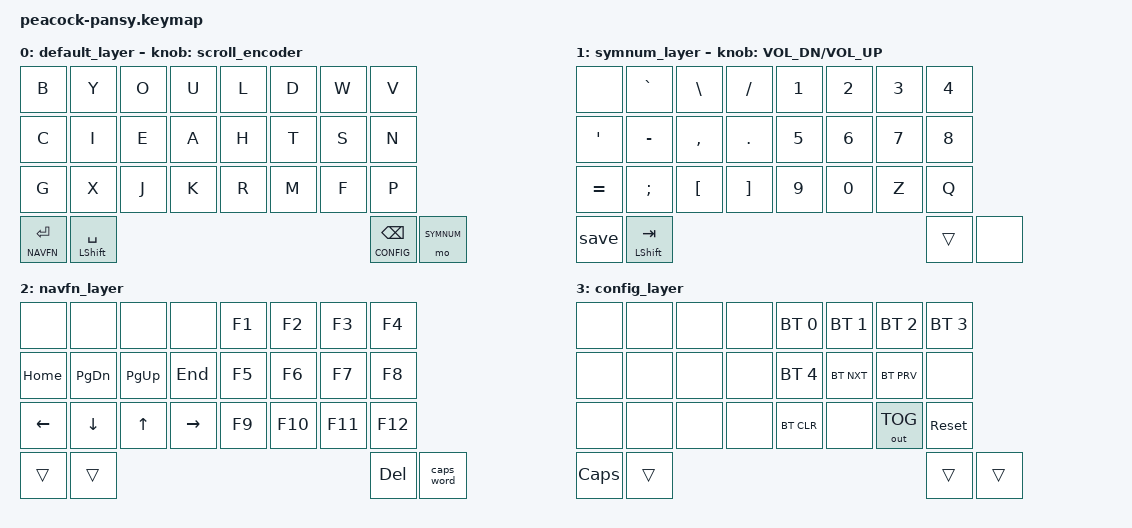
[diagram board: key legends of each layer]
#include <behaviors.dtsi>
#include <dt-bindings/zmk/keys.h>
#include <dt-bindings/zmk/bt.h>
#include <dt-bindings/zmk/outputs.h>
#include <dt-bindings/zmk/mouse.h>
#include <dt-bindings/zmk/pointing.h>

#define DEFAULT 0
#define SYMNUM 1
#define NAVFN 2
#define CONFIG 3

&msc { trigger-period-ms = <10> ; }
; /
{ behaviors
  { scroll_encoder: scroll_encoder
    { compatible = "zmk,behavior-sensor-rotate"
      ; #sensor-binding-cells = <0>
      // high MOVE_Y and low tap-ms make for happy scrolling
      ; bindings = <&msc MOVE_Y(120)>, <&msc MOVE_Y(-120)>
      ; tap-ms = <12>
    ; }
    ; bksp: layer_backspace
    { compatible = "zmk,behavior-hold-tap"
      ; #binding-cells = <2>
      ; flavor = "tap-preferred"
      ; tapping-term-ms = <200>
      ; bindings = <&mo>, <&kp>
      ; display-name = "Layer-Backspace"
      ; quick-tap-ms = <150>
    ; }
  ; }
  ; macros
  { ZMK_MACRO(save
    , wait-ms = <30>
    ; tap-ms = <40>
    ; bindings =  <&macro_tap &kp ESC &kp COLON &kp W &kp RET>
    ; )
  }
  ; combos
  { compatible = "zmk,combos"
    // upper rows
  ; combo_lgui  { key-positions = < 0  8>; bindings = <&kp LGUI >; }
  ; combo_lalt  { key-positions = < 1  9>; bindings = <&kp LALT >; }
  ; combo_lshft { key-positions = < 2 10>; bindings = <&kp LSHFT>; }
  ; combo_lctrl { key-positions = < 3 11>; bindings = <&kp LCTRL>; }
  ; combo_rctrl { key-positions = < 4 12>; bindings = <&kp RCTRL>; }
  ; combo_rshft { key-positions = < 5 13>; bindings = <&kp RSHFT>; }
  ; combo_ralt  { key-positions = < 6 14>; bindings = <&kp RALT >; }
  ; combo_rgui  { key-positions = < 7 15>; bindings = <&kp RGUI >; }
    // lower rows
  ; combo_tab   { key-positions = <10 18>; bindings = <&kp TAB  >; }
  ; combo_esc   { key-positions = <12 20>; bindings = <&kp ESC  >; }
  ; combo_save  { key-positions = <13 21>; bindings = <&save    >; }
    // thumbs
  ; combo_mclk  { key-positions = <24 25>; bindings = <&mkp MCLK>; }
  ; }
  ; keymap
  { compatible = "zmk,keymap"
    // | B | Y | O    | U        || L         | D         | W | V |
    // | C | I | E    | A        || H         | T         | S | N |
    // | G | X | J    | K        || R         | M         | F | P |
    //         | RET  | NAV(SPC) || SYM(BSPC) | CONF(ESC) |
    ; default_layer
    { bindings = <
      &kp B &kp Y &kp O &kp U  &kp L   &kp D &kp W &kp V
      &kp C &kp I &kp E &kp A  &kp H   &kp T &kp S &kp N
      &kp G &kp X &kp J &kp K  &kp R   &kp M &kp F &kp P
      &lt NAVFN RET  &mt LSHFT SPACE  &bksp CONFIG BSPC &mo SYMNUM
      >
      ; sensor-bindings = <&scroll_encoder>
    ; }
    // |   | ` |  \   |  /   || 1 | 2 | 3 | 4 |
    // | ' | - | ,    | .    || 5 | 6 | 7 | 8 |
    // | = | ; | [    | ]    || 9 | 0 | Z | Q |
    //         | SAVE | TAB  ||   |   |
    ; symnum_layer
    { bindings = <
      &none     &kp GRAVE &kp BSLH  &kp FSLH      &kp N1 &kp N2 &kp N3 &kp N4
      &kp SQT   &kp MINUS &kp COMMA &kp DOT       &kp N5 &kp N6 &kp N7 &kp N8
      &kp EQUAL &kp SEMI  &kp LBKT  &kp RBKT      &kp N9 &kp N0 &kp Z  &kp Q
      &save     &mt LSHFT TAB &trans &none
      >
      ; sensor-bindings = <&inc_dec_kp C_VOL_DN C_VOL_UP>
    ; }
    // |      |      |      |     || F1  | F2  | F3  | F4  |
    // | HOME | PGDN | PGUP | END || F5  | F6  | F7  | F8  |
    // | LFT  | DWN  | UP   | RGT || F9  | F10 | F11 | F12 |
    //               |      |     || DEL |     |
    ; navfn_layer
    { bindings = <
      &none    &none     &none     &none     &kp F1  &kp F2  &kp F3  &kp F4
      &kp HOME &kp PG_DN &kp PG_UP &kp END   &kp F5  &kp F6  &kp F7  &kp F8
      &kp LEFT &kp DOWN  &kp UP    &kp RIGHT &kp F9  &kp F10 &kp F11 &kp F12
      &trans    &trans    &kp DEL &caps_word
      >
    ; }
    // |  |  |  |  || BT1    | BT2 | BT3 | BT4   |
    // |  |  |  |  || BT5    |     |     |       |
    // |  |  |  |  || BT CLR |     |     | RESET |
    //       |  |  ||        |     |
    ; config_layer
    { bindings = <
      &none &none &none &none  &bt BT_SEL 0 &bt BT_SEL 1 &bt BT_SEL 2 &bt BT_SEL 3
      &none &none &none &none &bt BT_SEL 4 &bt BT_NXT   &bt BT_PRV   &none
      &none           &none           &none           &none  &bt BT_CLR   &none        &out OUT_TOG &sys_reset
      &kp CAPS        &trans           &trans       &trans
      >
    ; }
  ; }
; }
;
